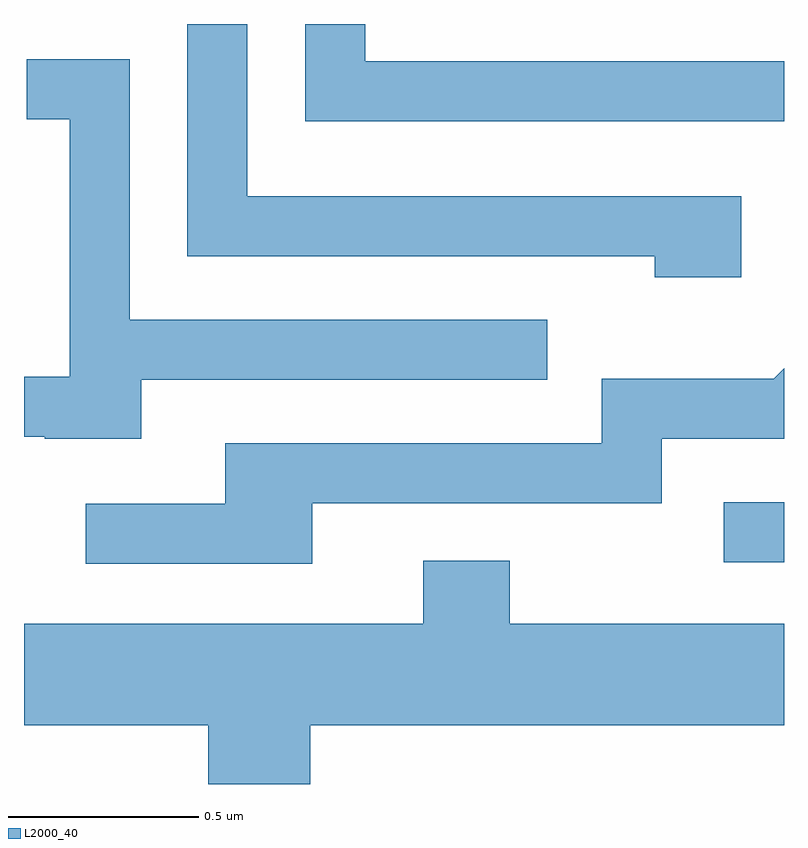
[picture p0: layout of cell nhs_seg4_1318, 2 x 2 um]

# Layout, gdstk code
import gdstk
lib = gdstk.Library(unit=1e-6, precision=1e-09)
def R(c, l, rs):  # rectangles x0, y0, x1, y1
    for r in rs: c.add(gdstk.rectangle(r[:2], r[2:], *l))
def P(c, l, *ps):  # polygons
    for p in ps: c.add(gdstk.Polygon(p, *l))
L2000_40 = (2000, 40)

nhs_seg4_1318 = lib.new_cell('nhs_seg4_1318')
R(nhs_seg4_1318, L2000_40, [(196.453,1339.566,196.611,1339.724)])
P(nhs_seg4_1318, L2000_40, [(196.499,1340.529),(195.199,1340.529),(195.199,1340.982),(195.041,1340.982),(195.041,1340.371),(196.271,1340.371),(196.271,1340.316),(196.499,1340.316)],
  [(196.611,1340.884),(195.509,1340.884),(195.509,1340.982),(195.351,1340.982),(195.351,1340.726),(196.611,1340.726)],
  [(194.919,1340.046),(195.988,1340.046),(195.988,1340.204),(194.889,1340.204),(194.889,1340.889),(194.618,1340.889),(194.618,1340.731),(194.731,1340.731),(194.731,1340.054),(194.611,1340.054),(194.611,1339.896),(194.665,1339.896),(194.665,1339.891),(194.919,1339.891)],
  [(195.369,1339.721),(196.289,1339.721),(196.289,1339.891),(196.611,1339.891),(196.611,1340.076),(196.584,1340.049),(196.131,1340.049),(196.131,1339.879),(195.141,1339.879),(195.141,1339.719),(194.773,1339.719),(194.773,1339.561),(195.369,1339.561)],
  [(195.364,1339.136),(196.611,1339.136),(196.611,1339.404),(195.889,1339.404),(195.889,1339.569),(195.661,1339.569),(195.661,1339.404),(194.611,1339.404),(194.611,1339.136),(195.096,1339.136),(195.096,1338.982),(195.364,1338.982)])

lib.write_gds('nhs_seg4_1318.gds')
